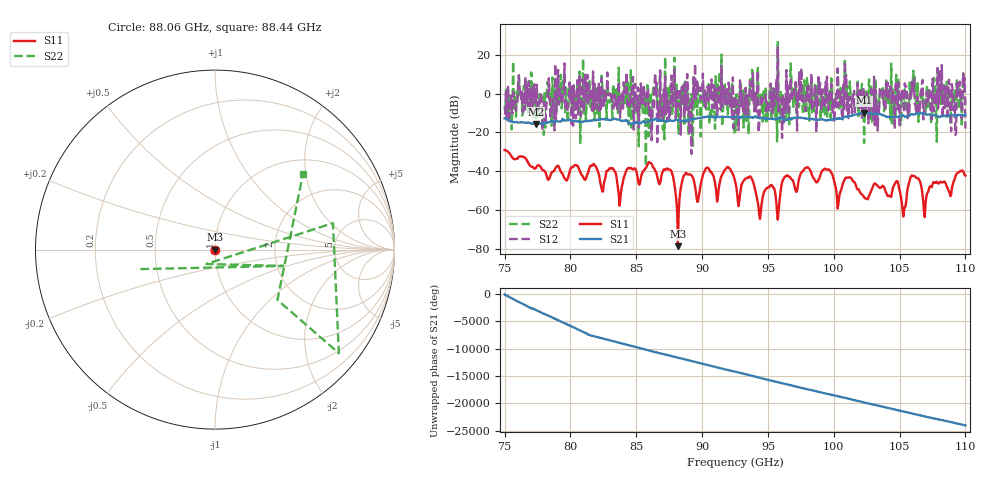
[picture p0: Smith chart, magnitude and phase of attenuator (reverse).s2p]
!Created with skrf (http://scikit-rf.org).
# GHz S RI R 50.0
!freq ReS11 ImS11 ReS21 ImS21 ReS12 ImS12 ReS22 ImS22
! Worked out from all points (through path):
!   647 points, 75 GHz to 110 GHz, reference 50 ohm
!   highest |S21| = -9.81 dB at 102.3 GHz (marker M1); lowest = -15.7 dB at 77.39 GHz (marker M2)
!   lowest |S11| = -78.4 dB at 88.17 GHz (marker M3), VSWR 1.00, Z = 50 + j0.00967 ohm
!   |S11| at or under -10 dB: start of sweep to end of sweep
!   |S22| runs from -37.4 to 27.3 dB; largest |S21 - S12| = 17
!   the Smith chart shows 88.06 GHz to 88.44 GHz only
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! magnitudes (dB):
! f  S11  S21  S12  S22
! 75 GHz  -29.1  -12.7  -10.7  -6.4
! 77.39 GHz  -38.1  -15.7  -4.6  -12.3
! 80.85 GHz  -41.8  -14.5  -9.6  -4.3
! 86.7 GHz  -45.7  -14.1  -12.1  -10.3
! 87.62 GHz  -39.5  -13.9  -5.1  -6.2
! 88.17 GHz  -78.4  -13.7  -6.6  -8.1
! 88.76 GHz  -40.8  -14.5  -0.4  -3.6
! 89.14 GHz  -41.8  -13.4  -16.8  -0.3
! 89.52 GHz  -50.1  -12.9  -2.8  -8.0
! 90.71 GHz  -40.6  -11.7  7.2  -11.1
! 91.31 GHz  -47.0  -12.1  0.1  11.2
! 92.5 GHz  -44.9  -12.1  -1.4  -14.8
! 92.93 GHz  -49.4  -12.4  3.2  6.4
! 93.42 GHz  -43.3  -12.0  0.7  -0.9
! 93.75 GHz  -43.3  -12.2  0.6  -0.6
! 94.4 GHz  -64.5  -12.6  -6.5  -1.8
! 98.35 GHz  -41.9  -13.1  -8.6  -9.7
! 102.3 GHz  -53.3  -9.8  -2.5  -25.5
! 104.2 GHz  -52.5  -11.9  1.4  -0.2
! 106 GHz  -42.5  -10.9  2.8  11.7
! 106.9 GHz  -63.5  -10.4  -9.7  -4.7
! 110 GHz  -42.2  -10.9  -18.0  -7.3
